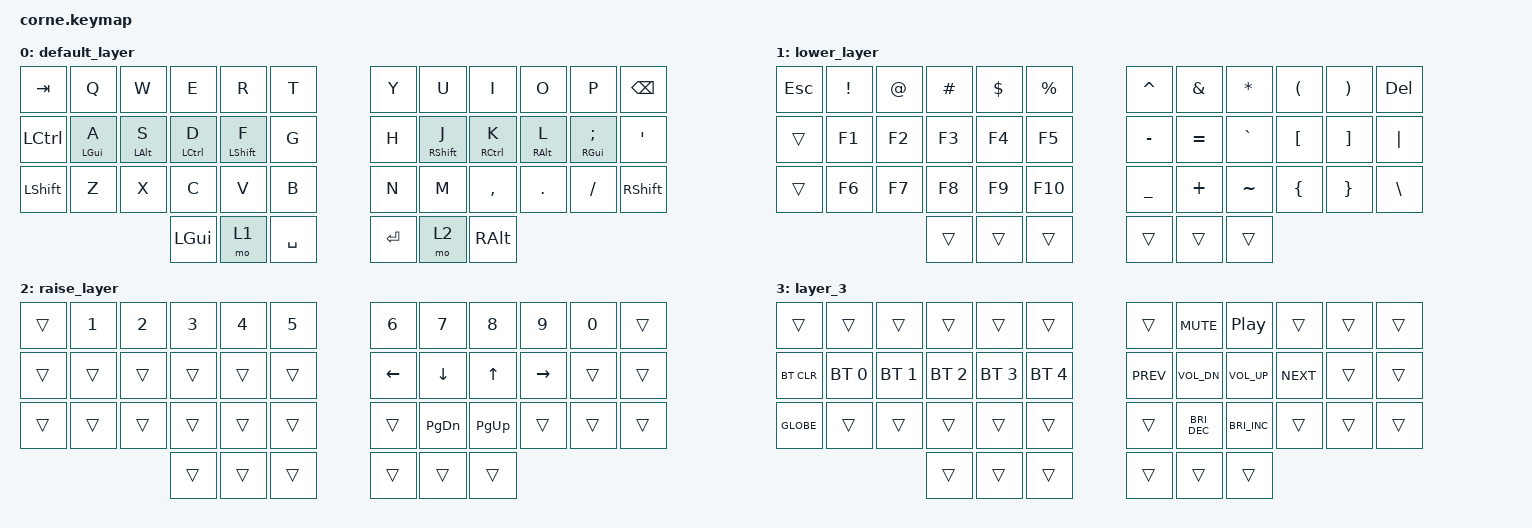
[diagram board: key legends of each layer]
/*
 * Copyright (c) 2020 The ZMK Contributors
 *
 * SPDX-License-Identifier: MIT
 */

#include <behaviors.dtsi>
#include <dt-bindings/zmk/bt.h>
#include <dt-bindings/zmk/keys.h>

/ {
    keymap {
        compatible = "zmk,keymap";

        default_layer {
            // -----------------------------------------------------------------------------------------
            // |  TAB |  Q  |  W  |  E  |  R  |  T  |   |  Y  |  U   |  I  |  O  |  P  | BKSP |
            // | CTRL |  A  |  S  |  D  |  F  |  G  |   |  H  |  J   |  K  |  L  |  ;  |  '   |
            // | SHFT |  Z  |  X  |  C  |  V  |  B  |   |  N  |  M   |  ,  |  .  |  /  | ESC  |
            //                    | GUI | LWR | SPC |   | ENT | RSE  | ALT |

            bindings = <
&kp TAB    &kp Q       &kp W       &kp E        &kp R         &kp T        &kp Y    &kp U         &kp I        &kp O       &kp P          &kp BSPC
&kp LCTRL  &mt LGUI A  &mt LALT S  &mt LCTRL D  &mt LSHIFT F  &kp G        &kp H    &mt RSHIFT J  &mt RCTRL K  &mt RALT L  &mt RGUI SEMI  &kp SQT
&kp LSHFT  &kp Z       &kp X       &kp C        &kp V         &kp B        &kp N    &kp M         &kp COMMA    &kp DOT     &kp FSLH       &kp RSHIFT
                                   &kp LGUI     &mo 1         &kp SPACE    &kp RET  &mo 2         &kp RALT
            >;
        };

        lower_layer {
            // -----------------------------------------------------------------------------------------
            // |  TAB |  1  |  2  |  3  |  4  |  5  |   |  6  |  7  |  8  |  9  |  0  | BKSP |
            // | BTCLR| BT1 | BT2 | BT3 | BT4 | BT5 |   | LFT | DWN |  UP | RGT |     |      |
            // | SHFT |     |     |     |     |     |   |     |     |     |     |     |      |
            //                    | GUI |     | SPC |   | ENT |     | ALT |

            bindings = <
&kp ESC  &kp EXCL  &kp AT  &kp HASH  &kp DLLR  &kp PRCNT    &kp CARET  &kp AMPS   &kp ASTERISK  &kp LPAR  &kp RPAR  &kp DEL
&trans   &kp F1    &kp F2  &kp F3    &kp F4    &kp F5       &kp MINUS  &kp EQUAL  &kp GRAVE     &kp LBKT  &kp RBKT  &kp PIPE
&trans   &kp F6    &kp F7  &kp F8    &kp F9    &kp F10      &kp UNDER  &kp PLUS   &kp TILDE     &kp LBRC  &kp RBRC  &kp BSLH
                           &trans    &trans    &trans       &trans     &trans     &trans
            >;
        };

        raise_layer {
            // -----------------------------------------------------------------------------------------
            // |  TAB |  !  |  @  |  #  |  $  |  %  |   |  ^  |  &  |  *  |  (  |  )  | BKSP |
            // | CTRL |     |     |     |     |     |   |  -  |  =  |  [  |  ]  |  \  |  `   |
            // | SHFT |     |     |     |     |     |   |  _  |  +  |  {  |  }  | "|" |  ~   |
            //                    | GUI |     | SPC |   | ENT |     | ALT |

            bindings = <
&trans  &kp N1  &kp N2  &kp N3  &kp N4  &kp N5    &kp N6    &kp N7         &kp N8       &kp N9     &kp N0  &trans
&trans  &trans  &trans  &trans  &trans  &trans    &kp LEFT  &kp DOWN       &kp UP       &kp RIGHT  &trans  &trans
&trans  &trans  &trans  &trans  &trans  &trans    &trans    &kp PAGE_DOWN  &kp PAGE_UP  &trans     &trans  &trans
                        &trans  &trans  &trans    &trans    &trans         &trans
            >;
        };

        layer_3 {
            bindings = <
&trans      &trans        &trans        &trans        &trans        &trans          &trans      &kp C_MUTE     &kp C_PP       &trans      &trans  &trans
&bt BT_CLR  &bt BT_SEL 0  &bt BT_SEL 1  &bt BT_SEL 2  &bt BT_SEL 3  &bt BT_SEL 4    &kp C_PREV  &kp C_VOL_DN   &kp C_VOL_UP   &kp C_NEXT  &trans  &trans
&kp GLOBE   &trans        &trans        &trans        &trans        &trans          &trans      &kp C_BRI_DEC  &kp C_BRI_INC  &trans      &trans  &trans
                                        &trans        &trans        &trans          &trans      &trans         &trans
            >;
        };
    };

    conditional_layers {
        compatible = "zmk,conditional-layers";

        layer_3 {
            if-layers = <1 2>;
            then-layer = <3>;
        };
    };
};
